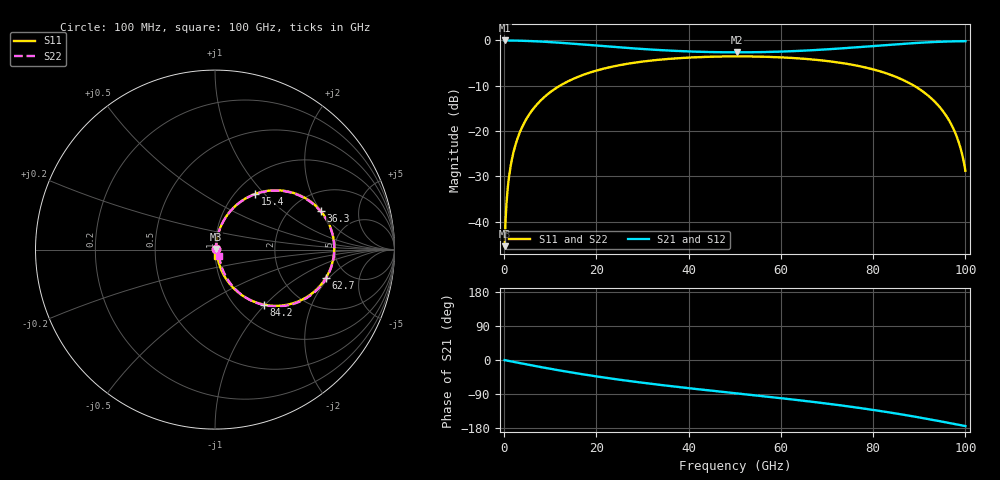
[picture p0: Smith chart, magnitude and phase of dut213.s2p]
! Touchstone file exported from HFSS 2026.1.0
!  File:  C:/ffzhzh/LocalFiles/Ansys_Project_Files/temp_train_RDL_213_1783500901_31944.aedt
!  Generated:  04:56:20 PM Jul  8, 2026
!  Design:  RDL
!  Project:  temp_train_RDL_213_1783500901_31944
! Variables:
!  h_bsmrdl = 2um
!  h_ox = 20um
!  h_rdl = 5um
!  h_sub = 80um
!  h_tmrdl = 2.59um
!  h_tsv = 80um
!  h_via = 3um
!  l_bsmrdl = 300um
!  l_sub = 972.12um
!  l_tmrdl = 572.12um
!  m_sub = 200um
!  pitch = 56.29um
!  r_tsv = 6um
!  s_tmrdl = 10um
!  w_bsmrdl = 18um
!  w_sub = 500um
!  w_tmrdl = 18.33um
!  x_tsv_center1 = 581.285um
!  x_tsv_center2 = 899.285um
!  x_tsv_center3 = 1489.735um
!  x_tsv_center4 = 1807.735um
!  x_tsv_center5 = 2398.185um
!  x_tsv_center6 = 2716.185um
# GHz S MA R 50.000000
! Terminal data exported
! Port[1] = TM_RDL1_1_T1
! Port[2] = TM_RDL1_1_T2
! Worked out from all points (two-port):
!   1000 points, 100 MHz to 100 GHz, reference 50 ohm
!   highest |S21| = -0.04 dB at 100 MHz (marker M1); lowest = -2.7 dB at 50.5 GHz (marker M2)
!   |S21| within 3 dB of the highest: start of sweep to end of sweep
!   lowest |S11| = -45.4 dB at 100 MHz (marker M3), VSWR 1.01, Z = 50.4 + j0.307 ohm
!   |S11| at or under -10 dB: start of sweep to 12.12 GHz; 88.84 GHz to end of sweep
!   |S22| runs from -45.4 to -3.5 dB; largest |S21 - S12| = 1.7e-14
!   S11 on the Smith chart (normalised r, x): 100 MHz: 1.01, +0.01; 15.4 GHz: 1.22, +0.89; 36.3 GHz: 2.81, +2.00; 62.7 GHz: 3.47, -1.84; 84.2 GHz: 1.33, -0.98; 100 GHz: 1.02, -0.07
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0.1  0.005378 34.4  0.9956 -0.3  0.9956 -0.3  0.005378 34.4
! Gamma 0 0 0 0
! Port Impedance 50 0 50 0
0.9  0.02682 76.4  0.9944 -2.2  0.9944 -2.2  0.02683 76.4
1.4  0.04078 78.8  0.9936 -3.4  0.9936 -3.4  0.04078 78.8
2.4  0.06879 79.4  0.9918 -5.8  0.9918 -5.8  0.06879 79.3
3.9  0.1105 77.5  0.9876 -9.3  0.9876 -9.3  0.1105 77.4
8.4  0.229 68.4  0.9655 -19.7  0.9655 -19.7  0.2291 68.3
15.4  0.3837 54.1  0.913 -34.5  0.913 -34.5  0.3837 53.8
16.8  0.4098 51.4  0.9014 -37.2  0.9014 -37.2  0.4098 51.1
24.3  0.5227 38.1  0.8408 -50.8  0.8408 -50.8  0.5228 37.8
33.4  0.6088 24.2  0.7817 -65.1  0.7817 -65.1  0.6089 23.7
36.3  0.6268 20.1  0.7677 -69.2  0.7677 -69.2  0.6269 19.6
50.1  0.6645 2.1  0.7365 -87.7  0.7365 -87.7  0.6646 1.4
50.5  0.6646 1.6  0.7364 -88.2  0.7364 -88.2  0.6646 0.9
62.7  0.6374 -14.3  0.7594 -104.4  0.7594 -104.4  0.6375 -15.1
66.7  0.6153 -19.9  0.7767 -110.1  0.7767 -110.1  0.6153 -20.7
75.9  0.5322 -33.9  0.8332 -124.5  0.8332 -124.5  0.5323 -34.6
83.4  0.423 -47.0  0.8904 -138.1  0.8904 -138.1  0.423 -47.4
84.2  0.4087 -48.5  0.8967 -139.7  0.8967 -139.7  0.4088 -48.9
90.3  0.2836 -60.4  0.9407 -152.3  0.9407 -152.3  0.2838 -60.1
94.8  0.1741 -69.2  0.9647 -162.3  0.9647 -162.3  0.1747 -67.4
97.8  0.0954 -73.8  0.9744 -169.2  0.9744 -169.2  0.09676 -68.7
100  0.03646 -70.5  0.9776 -174.4  0.9776 -174.4  0.0406 -55.6
